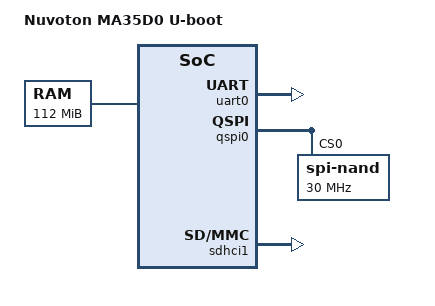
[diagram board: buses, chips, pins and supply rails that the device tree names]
// SPDX-License-Identifier:
/*
 * Copyright 2020 - Nuvoton Technology Corporation
 *
 */

/dts-v1/;
#include "ma35d0.dtsi"

/ {
	model = "Nuvoton MA35D0 U-boot";
	compatible = "nuvoton,ma35d0";

	aliases {
		spi0 = &qspi0;
	};

	memory {
		device_type = "memory";
		reg = <0x00000000 0x80000000 0 0x07000000>; /* 112M */
	};

};

&uart0 {
	status = "okay";
};

&qspi0 {
        status = "okay";

	#address-cells = <1>;
	#size-cells = <0>;
	spi-nand@0 {
		#address-cells = <1>;
		#size-cells = <1>;
		compatible = "spi-nand";
		spi-max-frequency = <30000000>;
		spi-tx-bus-width = <1>;
		spi-rx-bus-width = <4>;
		reg = <0>;
	};
};

&sdhci1 {
	status = "okay";
};

